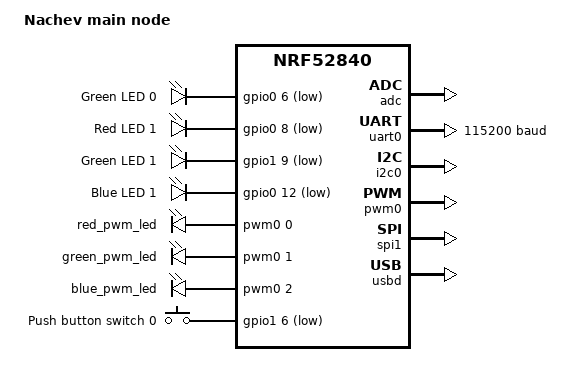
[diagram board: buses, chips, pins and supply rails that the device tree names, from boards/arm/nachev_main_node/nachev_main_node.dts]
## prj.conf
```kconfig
# nothing here
CONFIG_ADC=y
CONFIG_ADC_ASYNC=y
CONFIG_USB_DEVICE_STACK=y
CONFIG_USB_DEVICE_PRODUCT="Zephyr USB console sample"

CONFIG_SERIAL=y
CONFIG_CONSOLE=y
CONFIG_UART_CONSOLE=y
CONFIG_UART_LINE_CTRL=y
```

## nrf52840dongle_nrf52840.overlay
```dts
/
&adc { /* ADC */
    status = "okay";
   };
{
aliases {
    adcctrl = &adc;
 };
};
```

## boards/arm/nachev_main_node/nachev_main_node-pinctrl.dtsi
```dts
/*
 * Copyright (c) 2022 Nordic Semiconductor
 * SPDX-License-Identifier: Apache-2.0
 */

&pinctrl {
	uart0_default: uart0_default {
		group1 {
			psels = <NRF_PSEL(UART_TX, 0, 20)>,
				<NRF_PSEL(UART_RTS, 0, 17)>;
		};
		group2 {
			psels = <NRF_PSEL(UART_RX, 0, 24)>,
				<NRF_PSEL(UART_CTS, 0, 22)>;
			bias-pull-up;
		};
	};

	uart0_sleep: uart0_sleep {
		group1 {
			psels = <NRF_PSEL(UART_TX, 0, 20)>,
				<NRF_PSEL(UART_RX, 0, 24)>,
				<NRF_PSEL(UART_RTS, 0, 17)>,
				<NRF_PSEL(UART_CTS, 0, 22)>;
			low-power-enable;
		};
	};

	i2c0_default: i2c0_default {
		group1 {
			psels = <NRF_PSEL(TWIM_SDA, 0, 13)>,
				<NRF_PSEL(TWIM_SCL, 0, 15)>;
		};
	};

	i2c0_sleep: i2c0_sleep {
		group1 {
			psels = <NRF_PSEL(TWIM_SDA, 0, 13)>,
				<NRF_PSEL(TWIM_SCL, 0, 15)>;
			low-power-enable;
		};
	};

	i2c1_default: i2c1_default {
		group1 {
			psels = <NRF_PSEL(TWIM_SDA, 0, 13)>,
				<NRF_PSEL(TWIM_SCL, 0, 15)>;
		};
	};

	i2c1_sleep: i2c1_sleep {
		group1 {
			psels = <NRF_PSEL(TWIM_SDA, 0, 13)>,
				<NRF_PSEL(TWIM_SCL, 0, 15)>;
			low-power-enable;
		};
	};

	pwm0_default: pwm0_default {
		group1 {
			psels = <NRF_PSEL(PWM_OUT0, 0, 8)>,
				<NRF_PSEL(PWM_OUT1, 1, 9)>,
				<NRF_PSEL(PWM_OUT2, 0, 12)>;
			nordic,invert;
		};
	};

	pwm0_sleep: pwm0_sleep {
		group1 {
			psels = <NRF_PSEL(PWM_OUT0, 0, 8)>,
				<NRF_PSEL(PWM_OUT1, 1, 9)>,
				<NRF_PSEL(PWM_OUT2, 0, 12)>;
			low-power-enable;
		};
	};

	spi0_default: spi0_default {
		group1 {
			psels = <NRF_PSEL(SPIM_SCK, 0, 27)>,
				<NRF_PSEL(SPIM_MOSI, 0, 26)>,
				<NRF_PSEL(SPIM_MISO, 1, 10)>;
		};
	};

	spi0_sleep: spi0_sleep {
		group1 {
			psels = <NRF_PSEL(SPIM_SCK, 0, 27)>,
				<NRF_PSEL(SPIM_MOSI, 0, 26)>,
				<NRF_PSEL(SPIM_MISO, 1, 10)>;
			low-power-enable;
		};
	};

	spi1_default: spi1_default {
		group1 {
			psels = <NRF_PSEL(SPIM_SCK, 0, 31)>,
				<NRF_PSEL(SPIM_MOSI, 0, 30)>,
				<NRF_PSEL(SPIM_MISO, 1, 13)>;
		};
	};

	spi1_sleep: spi1_sleep {
		group1 {
			psels = <NRF_PSEL(SPIM_SCK, 0, 31)>,
				<NRF_PSEL(SPIM_MOSI, 0, 30)>,
				<NRF_PSEL(SPIM_MISO, 1, 13)>;
			low-power-enable;
		};
	};

};
```

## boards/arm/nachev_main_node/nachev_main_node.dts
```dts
/*
 * Copyright (c) 2018 Nordic Semiconductor ASA
 * Copyright (c) 2017 Linaro Limited
 *
 * SPDX-License-Identifier: Apache-2.0
 */

/dts-v1/;
#include <nordic/nrf52840_qiaa.dtsi>
#include "nachev_main_node-pinctrl.dtsi"

/ {
	model = "Nachev main node";
	compatible = "nordic-semiconductors,nachev-main-node";

	chosen {
		zephyr,console = &uart0;
		zephyr,shell-uart = &uart0;
		zephyr,uart-mcumgr = &uart0;
		zephyr,bt-mon-uart = &uart0;
		zephyr,bt-c2h-uart = &uart0;
		zephyr,sram = &sram0;
		zephyr,flash = &flash0;
		zephyr,code-partition = &slot0_partition;
	};

	leds {
		compatible = "gpio-leds";
		led0_green: led_0 {
			gpios = <&gpio0 6 GPIO_ACTIVE_LOW>;
			label = "Green LED 0";
		};
		led1_red: led_1 {
			gpios = <&gpio0 8 GPIO_ACTIVE_LOW>;
			label = "Red LED 1";
		};
		led1_green: led_2 {
			gpios = <&gpio1 9 GPIO_ACTIVE_LOW>;
			label = "Green LED 1";
		};
		led1_blue: led_3 {
			gpios = <&gpio0 12 GPIO_ACTIVE_LOW>;
			label = "Blue LED 1";
		};
	};

	pwmleds {
		compatible = "pwm-leds";
		red_pwm_led: pwm_led_0 {
			pwms = <&pwm0 0 PWM_MSEC(20) PWM_POLARITY_INVERTED>;
		};
		green_pwm_led: pwm_led_1 {
			pwms = <&pwm0 1 PWM_MSEC(20) PWM_POLARITY_INVERTED>;
		};
		blue_pwm_led: pwm_led_2 {
			pwms = <&pwm0 2 PWM_MSEC(20) PWM_POLARITY_INVERTED>;
		};
	};

	buttons {
		compatible = "gpio-keys";
		button0: button_0 {
			gpios = <&gpio1 6 (GPIO_PULL_UP | GPIO_ACTIVE_LOW)>;
			label = "Push button switch 0";
		};
	};

	/* These aliases are provided for compatibility with samples */
	aliases {
		sw0 = &button0;
		led0 = &led0_green;
		led1 = &led1_red;
		led2 = &led1_green;
		led3 = &led1_blue;
		led0-green = &led0_green;
		led1-red   = &led1_red;
		led1-green = &led1_green;
		led1-blue  = &led1_blue;
		pwm-led0 = &red_pwm_led;
		pwm-led1 = &green_pwm_led;
		pwm-led2 = &blue_pwm_led;
		red-pwm-led = &red_pwm_led;
		green-pwm-led = &green_pwm_led;
		blue-pwm-led = &blue_pwm_led;
		mcuboot-button0 = &button0;
		mcuboot-led0 = &led0_green;
		watchdog0 = &wdt0;
		adcctrl = &adc;
	};
};


&adc {
	status = "okay";
	label="ADC_0";
};


&gpiote {
	status = "okay";
};

&gpio0 {
	status = "okay";
};

&gpio1 {
	status = "okay";
};

&uart0 {
	compatible = "nordic,nrf-uarte";
	status = "okay";
	current-speed = <115200>;
	pinctrl-0 = <&uart0_default>;
	pinctrl-1 = <&uart0_sleep>;
	pinctrl-names = "default", "sleep";
};

&i2c0 {
	compatible = "nordic,nrf-twi";
	status = "okay";
	pinctrl-0 = <&i2c0_default>;
	pinctrl-1 = <&i2c0_sleep>;
	pinctrl-names = "default", "sleep";
	
	// bh1750_sensor: bh1750@23 {
	// 	compatible = "rohm,bh1750";
	// 	reg = <0x23>;
	// 	status = "okay";
	// 	label = "BH1750";
	// };
	// bme680_sensor: bme680@76 {
	// 	compatible = "bosch,bme680";
	// 	reg = <0x76>;
	// 	status = "okay";
	// 	label = "BME680";
	// };
};

&i2c1 {
	compatible = "nordic,nrf-twi";
	/* Cannot be used together with spi1. */
	//status = "okay";
	pinctrl-0 = <&i2c1_default>;
	pinctrl-1 = <&i2c1_sleep>;
	pinctrl-names = "default", "sleep";
};

&pwm0 {
	status = "okay";
	pinctrl-0 = <&pwm0_default>;
	pinctrl-1 = <&pwm0_sleep>;
	pinctrl-names = "default", "sleep";
};

/*
 * By default, not adding all available SPI instances (spi2, spi3) due to
 * limited GPIOs available on dongle board.
 */
&spi0 {
	compatible = "nordic,nrf-spi";
	/* Cannot be used together with i2c0. */
	/* status = "okay"; */
	pinctrl-0 = <&spi0_default>;
	pinctrl-1 = <&spi0_sleep>;
	pinctrl-names = "default", "sleep";
};

&spi1 {
	compatible = "nordic,nrf-spi";
	status = "okay";
	pinctrl-0 = <&spi1_default>;
	pinctrl-1 = <&spi1_sleep>;
	pinctrl-names = "default", "sleep";
};

/* Include flash partition table.
 * Two partition tables are available:
 * fstab-stock		-compatible with Nordic nRF5 bootloader, default
 * fstab-debugger	-to use an external debugger, w/o the nRF5 bootloader
 */
#include "fstab-stock.dts"

zephyr_udc0: &usbd {
	compatible = "nordic,nrf-usbd";
	status = "okay";
};

/ {
	chosen {
		zephyr,console = &cdc_acm_uart0;
	};
};

&zephyr_udc0 {
	cdc_acm_uart0: cdc_acm_uart0 {
		compatible = "zephyr,cdc-acm-uart";
	};
};
```

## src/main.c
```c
#include <zephyr/zephyr.h>
#include <zephyr/device.h>
#include <zephyr/devicetree.h>
#include <zephyr/sys/printk.h>
#include <zephyr/usb/usb_device.h>
#include <zephyr/drivers/uart.h>
#include <zephyr/drivers/gpio.h>

#include <zephyr/drivers/adc.h>

#include <drivers/adc.h>
#include <string.h>

#define ADC_NODE DT_NODELABEL(adc)
static const struct device *adc_dev = DEVICE_DT_GET(ADC_NODE);

#define ADC_RESOLUTION		10
#define ADC_GAIN			ADC_GAIN_1_5
#define ADC_REFERENCE		ADC_REF_INTERNAL
#define ADC_PORT SAADC_CH_PSELP_PSELP_AnalogInput0
#define ADC_CHANNEL 0

struct adc_channel_cfg chl0_cfg = {
	.gain = ADC_GAIN,
	.reference = ADC_REFERENCE,
	.acquisition_time = ADC_ACQ_TIME_DEFAULT,
	.channel_id = ADC_CHANNEL,
#ifdef CONFIG_ADC_NRFX_SAADC
	.input_positive = ADC_PORT
#endif
};  

int16_t sample_buffer[1];
struct adc_sequence sequence = {
	.channels = BIT(ADC_CHANNEL),
	.buffer = sample_buffer,
	.buffer_size = sizeof(sample_buffer),
	.resolution = ADC_RESOLUTION
};

void main(void){

	const struct device *dev = DEVICE_DT_GET(DT_CHOSEN(zephyr_console));
	uint32_t dtr = 0;

	if (usb_enable(NULL)) {
		return;
	}

	/* Poll if the DTR flag was set */
	while (!dtr) {
		uart_line_ctrl_get(dev, UART_LINE_CTRL_DTR, &dtr);
		/* Give CPU resources to low priority threads. */
		k_sleep(K_MSEC(100));
	}
	int err;
	if (!device_is_ready(adc_dev)){
		printk("adc_dev not ready\n");
		return;
	}
	err=adc_channel_setup(adc_dev, &chl0_cfg);
	while(1){
		err = adc_read(adc_dev, &sequence);
		printk("ADC: %d\n", sample_buffer[0]);
		int32_t mv_value = sample_buffer[0];
		int32_t adc_vref = adc_ref_internal(adc_dev);
		adc_raw_to_millivolts(adc_vref, ADC_GAIN, ADC_RESOLUTION, &mv_value);
		int32_t current_consumption = (int32_t)((mv_value/100000.0)*1000000.0);
		printk("ADC converted: %d mV; %d uA\n", mv_value, current_consumption);
		if (mv_value > 4.00){
			printk("Percentage = 100");
		}else if(mv_value < 4.00 && mv_value > 3.75){
			printk("Percentage = 90");
		}else if()
		k_msleep(1000);
	}
}
```

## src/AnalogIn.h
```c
#ifndef ANALOG_IN_H
#define ANALOG_IN_H

#include <stdint.h>
#include <stdbool.h>

#ifdef __cplusplus
extern "C" {
#endif

  float AnalogRead(int channel);
  #define BAD_ANALOG_READ -123

#ifdef __cplusplus
}
#endif


#endif
```
